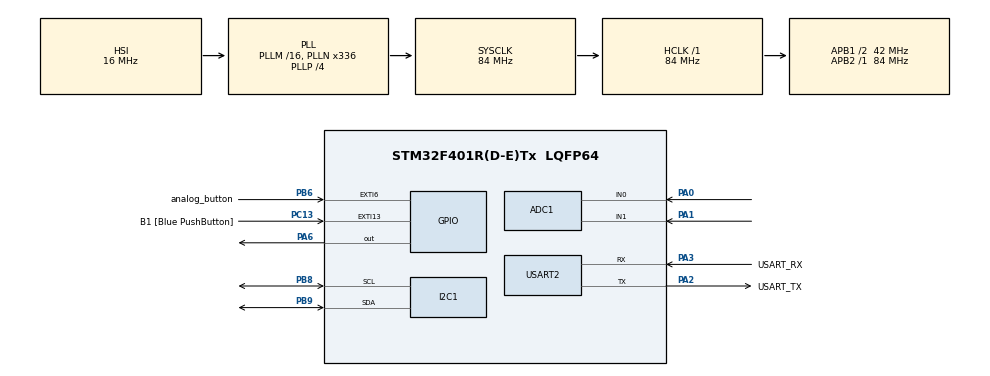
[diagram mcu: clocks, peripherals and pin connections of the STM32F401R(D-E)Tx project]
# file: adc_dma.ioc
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ADC1.Channel-0\#ChannelRegularConversion=ADC_CHANNEL_0
ADC1.Channel-1\#ChannelRegularConversion=ADC_CHANNEL_1
ADC1.ContinuousConvMode=ENABLE
ADC1.DMAContinuousRequests=ENABLE
ADC1.NbrOfConversion=2
ADC1.NbrOfConversionFlag=1
ADC1.Rank-0\#ChannelRegularConversion=1
ADC1.Rank-1\#ChannelRegularConversion=2
ADC1.SamplingTime-0\#ChannelRegularConversion=ADC_SAMPLETIME_480CYCLES
ADC1.SamplingTime-1\#ChannelRegularConversion=ADC_SAMPLETIME_480CYCLES
ADC1.ScanConvMode=ENABLE
ADC1.master=1
Dma.ADC1.0.Direction=DMA_PERIPH_TO_MEMORY
Dma.ADC1.0.FIFOMode=DMA_FIFOMODE_DISABLE
Dma.ADC1.0.Instance=DMA2_Stream0
Dma.ADC1.0.MemDataAlignment=DMA_MDATAALIGN_HALFWORD
Dma.ADC1.0.MemInc=DMA_MINC_ENABLE
Dma.ADC1.0.Mode=DMA_CIRCULAR
Dma.ADC1.0.PeriphDataAlignment=DMA_PDATAALIGN_HALFWORD
Dma.ADC1.0.PeriphInc=DMA_PINC_DISABLE
Dma.ADC1.0.Priority=DMA_PRIORITY_LOW
Dma.Request0=ADC1
Mcu.Family=STM32F4
Mcu.Name=STM32F401R(D-E)Tx
Mcu.Package=LQFP64
NVIC.ADC_IRQn=true\:1\:0\:true\:false\:true\:true\:true\:true
NVIC.DMA2_Stream0_IRQn=true\:0\:0\:false\:false\:true\:false\:true\:true
NVIC.EXTI9_5_IRQn=true\:1\:0\:true\:false\:true\:true\:true\:true
NVIC.PriorityGroup=NVIC_PRIORITYGROUP_4
NVIC.TIM2_IRQn=true\:0\:0\:false\:false\:true\:true\:true\:true
PA0-WKUP.Signal=ADCx_IN0
PA1.Signal=ADCx_IN1
PA13.GPIO_Label=TMS
PA13.Mode=Serial_Wire
PA13.Signal=SYS_JTMS-SWDIO
PA14.GPIO_Label=TCK
PA14.Mode=Serial_Wire
PA14.Signal=SYS_JTCK-SWCLK
PA2.GPIO_Label=USART_TX
PA2.GPIO_Mode=GPIO_MODE_AF_PP
PA2.GPIO_PuPd=GPIO_NOPULL
PA2.GPIO_Speed=GPIO_SPEED_FREQ_LOW
PA2.Mode=Asynchronous
PA2.Signal=USART2_TX
PA3.GPIO_Label=USART_RX
PA3.GPIO_Mode=GPIO_MODE_AF_PP
PA3.GPIO_PuPd=GPIO_NOPULL
PA3.GPIO_Speed=GPIO_SPEED_FREQ_LOW
PA3.Mode=Asynchronous
PA3.Signal=USART2_RX
PA6.Signal=GPIO_Output
PB3.GPIO_Label=SWO
PB3.Signal=SYS_JTDO-SWO
PB6.GPIO_Label=analog_button
PB6.GPIO_ModeDefaultEXTI=GPIO_MODE_IT_FALLING
PB6.Signal=GPXTI6
PB8.Mode=I2C
PB8.Signal=I2C1_SCL
PB9.Mode=I2C
PB9.Signal=I2C1_SDA
PC13-ANTI_TAMP.GPIO_Label=B1 [Blue PushButton]
PC13-ANTI_TAMP.GPIO_ModeDefaultEXTI=GPIO_MODE_IT_FALLING
PC13-ANTI_TAMP.GPIO_PuPd=GPIO_NOPULL
PC13-ANTI_TAMP.Signal=GPXTI13
PC14-OSC32_IN.Mode=LSE-External-Oscillator
PC14-OSC32_IN.Signal=RCC_OSC32_IN
PC15-OSC32_OUT.Mode=LSE-External-Oscillator
PC15-OSC32_OUT.Signal=RCC_OSC32_OUT
PH0\ -\ OSC_IN.Mode=HSE-External-Clock-Source
PH0\ -\ OSC_IN.Signal=RCC_OSC_IN
PH1\ -\ OSC_OUT.Mode=HSE-External-Clock-Source
PH1\ -\ OSC_OUT.Signal=RCC_OSC_OUT
ProjectManager.HeapSize=0x200
ProjectManager.StackSize=0x400
ProjectManager.TargetToolchain=STM32CubeIDE
RCC.48MHZClocksFreq_Value=48000000
RCC.AHBFreq_Value=84000000
RCC.APB1CLKDivider=RCC_HCLK_DIV2
RCC.APB1Freq_Value=42000000
RCC.APB1TimFreq_Value=84000000
RCC.APB2Freq_Value=84000000
RCC.APB2TimFreq_Value=84000000
RCC.CortexFreq_Value=84000000
RCC.HCLKFreq_Value=84000000
RCC.HSE_VALUE=8000000
RCC.HSI_VALUE=16000000
RCC.PLLN=336
RCC.PLLP=RCC_PLLP_DIV4
RCC.PLLQ=7
RCC.SYSCLKFreq_VALUE=84000000
RCC.SYSCLKSource=RCC_SYSCLKSOURCE_PLLCLK
RCC.VCOOutputFreq_Value=336000000
SH.ADCx_IN0.0=ADC1_IN0,IN0
SH.ADCx_IN1.0=ADC1_IN1,IN1
TIM2.AutoReloadPreload=TIM_AUTORELOAD_PRELOAD_ENABLE
TIM2.Period=84000-1
TIM2.Prescaler=10
TIM2.TIM_MasterOutputTrigger=TIM_TRGO_UPDATE
USART2.VirtualMode=VM_ASYNC
VP_TIM2_VS_ClockSourceINT.Mode=Internal
board=NUCLEO-F401RE

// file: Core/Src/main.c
/* USER CODE BEGIN Header */
/**
  ******************************************************************************
  * @file           : main.c
  * @brief          : Main program body
  ******************************************************************************
  * @attention
  *
  * Copyright (c) 2024 STMicroelectronics.
  * All rights reserved.
  *
  * This software is licensed under terms that can be found in the LICENSE file
  * in the root directory of this software component.
  * If no LICENSE file comes with this software, it is provided AS-IS.
  *
  ******************************************************************************
  */
/* USER CODE END Header */
#include "main.h"
#include "game.h"

/* USER CODE BEGIN Includes */
#include <stdio.h>
#include <string.h>
#include <time.h>

/* USER CODE END Includes */

/* USER CODE BEGIN PM */

static const uint8_t LEDMAT_ADD = 0x75 << 1;
static const uint8_t PAGE_1 = 0x00;
//static const uint8_t PAGE_2 = 0x01;
//static const uint8_t PAGE_3 = 0x02;
//static const uint8_t PAGE_4 = 0x03;
//static const uint8_t PAGE_5 = 0x04;
//static const uint8_t PAGE_6 = 0x05;
//static const uint8_t PAGE_7 = 0x06;
//static const uint8_t PAGE_8 = 0x07;
static const uint8_t FUN_REG = 0x0B;
static const uint8_t COM_REG = 0xFD;
static const uint8_t MAT_ROW[11] = {0x00, 0x02, 0x04, 0x06, 0x08, 0x0A, 0x01, 0x03, 0x05, 0x07, 0x09};
static const uint8_t MAT_COL[7] = {0x01, 0x02, 0x04, 0x08, 0x10, 0x20, 0x40};
/* USER CODE END PM */

ADC_HandleTypeDef hadc1;
DMA_HandleTypeDef hdma_adc1;

I2C_HandleTypeDef hi2c1;

TIM_HandleTypeDef htim2;

UART_HandleTypeDef huart2;

/* USER CODE BEGIN PV */
uint16_t Xaxis = 0;
uint16_t Yaxis = 0;
uint16_t rawValues[2];
uint16_t game_option = 0;
uint32_t previousMillis = 0;
uint32_t currentMillis = 0;
//char msg[20];

/* USER CODE END PV */

void SystemClock_Config(void);
static void MX_GPIO_Init(void);
static void MX_DMA_Init(void);
static void MX_USART2_UART_Init(void);
static void MX_ADC1_Init(void);
static void MX_TIM2_Init(void);
static void MX_I2C1_Init(void);

/* USER CODE BEGIN 0 */

////the code below is an interrupt that is triggered on an Update event (i.e. when the timer reaches its ARR value)
////if you look at TIM2 in the .ioc file (the GUI tab) you will see it has a source of 84MHz, an ARR of 84000-1 and
////a prescaler of 10, meaning this interrupt will occur every 10 ms.
void HAL_TIM_PeriodElapsedCallback(TIM_HandleTypeDef *htim2)
  {
	////this updates the X and Y axes of my joystick
	  for(uint8_t i = 0; i<hadc1.Init.NbrOfConversion; i++){
		  Xaxis = (uint16_t) rawValues[0];
		  Yaxis = (uint16_t) rawValues[1];
	  }
	 ////This allows me to write to the serial monitor similar to the serial monitor on Arduino
	 ////Note STM32CUBEIDE does not have a serial monitor. You will need to download PuTTY to view
	 ////your serial output.
//	  sprintf(msg, "X axis: %hu \r\t\t", Xaxis);
//	  HAL_UART_Transmit(&huart2, (uint8_t *) msg, strlen(msg), HAL_MAX_DELAY);
//
//	  sprintf(msg, "Y axis: %hu \r\n", Yaxis);
//	  HAL_UART_Transmit(&huart2, (uint8_t *) msg, strlen(msg), HAL_MAX_DELAY);
  }

void HAL_GPIO_EXTI_Callback(uint16_t GPIO_Pin){
	  currentMillis = HAL_GetTick();
	  if ((currentMillis - previousMillis > 300) & (game_option < 2))
	  {
	    game_option++; //For testing only
	    previousMillis = currentMillis;
	  }

	  else if(currentMillis - previousMillis > 300){
		  game_option = 0;
		  previousMillis = currentMillis;
	  }
}

/* USER CODE END 0 */

int main(void)
{
  /* USER CODE BEGIN 1 */
	//	HAL_StatusTypeDef ret;
  uint8_t screenstatus[11];
  uint8_t data[2];
  uint8_t new_head_y, new_head_x;
  uint8_t r_size = 11;
  uint8_t c_size = 7;
  int score = 0;
  int fruit_x = 6;
  int fruit_y = 3;
  int keep_playing = 1;
  int snakeX[4] = {0,0,0,0};
  int snakeY[4] = {0,0,1,2};
//
//  // 0 = low speed, 1 = high speed, 2 = pause, 3 = play;
  int button_state;
//  /* Number specifies the direction, 1=left, 2=right, 3=up, 4=down*/
  int direction = 2;
  char msg[20];
  /* USER CODE END 1 */

  /* MCU Configuration--------------------------------------------------------*/

  /* Reset of all peripherals, Initializes the Flash interface and the Systick. */
  HAL_Init();

  /* Configure the system clock */
  SystemClock_Config();

  /* Initialize all configured peripherals */
  MX_GPIO_Init();
  MX_DMA_Init();
  MX_USART2_UART_Init();
  MX_ADC1_Init();
  MX_TIM2_Init();
  MX_I2C1_Init();
  /* USER CODE BEGIN 2 */

  ////This begins the process of storing our ADC readings into the DMA. The DMA can be thought of a temporary storage location.
  HAL_ADC_Start_DMA(&hadc1, (uint32_t *) rawValues, 2);
  ////This begins our timer 2
  HAL_TIM_Base_Start_IT(&htim2);

  // Functions for the LED Screen matrix Demo
  void clearscreen(){
  		for(uint8_t r = 0; r <11; r++){
			  data[0] = COM_REG;
			  data[1] = PAGE_1;
			  HAL_I2C_Master_Transmit(&hi2c1, LEDMAT_ADD, data, 2, HAL_MAX_DELAY);
			  //HAL_Delay(10);
			  data[0] = MAT_ROW[r];
			  data[1] = 0x00;
			  HAL_I2C_Master_Transmit(&hi2c1, LEDMAT_ADD, data, 2, HAL_MAX_DELAY);
			  //HAL_Delay(10);
			  for(uint8_t r = 0; r <11; r++){
					screenstatus[r] = 0;
  			  }
  		  }
  }

  void turnoffscreen(){
  	  data[0] = COM_REG;
  	  data[1] = FUN_REG;
  	  HAL_I2C_Master_Transmit(&hi2c1, LEDMAT_ADD, data, 2, HAL_MAX_DELAY);
  	  //HAL_Delay(10);
  	  data[0] = 0x0A; //shutdown on/off
  	  data[1] = 0x00; //off
  	  HAL_I2C_Master_Transmit(&hi2c1, LEDMAT_ADD, data, 2, HAL_MAX_DELAY);
  }

  void turnonscreen(){
  	  data[0] = COM_REG;
  	  data[1] = FUN_REG;
  	  HAL_I2C_Master_Transmit(&hi2c1, LEDMAT_ADD, data, 2, HAL_MAX_DELAY);
  	 // HAL_Delay(10);
  	  data[0] = 0x0A; //shutdown on/off
  	  data[1] = 0x01; //on
  	  HAL_I2C_Master_Transmit(&hi2c1, LEDMAT_ADD, data, 2, HAL_MAX_DELAY);
  }

  void addpixel(uint8_t r, uint8_t c){
    	screenstatus[r] |= MAT_COL[c];
    	data[0] = COM_REG;
    	data[1] = PAGE_1;
    	HAL_I2C_Master_Transmit(&hi2c1, LEDMAT_ADD, data, 2, HAL_MAX_DELAY);
    	data[0] = MAT_ROW[r];
    	data[1] = screenstatus[r];
    	HAL_I2C_Master_Transmit(&hi2c1, LEDMAT_ADD, data, 2, HAL_MAX_DELAY);
    }

  void pwm_pixel_pause(){
    	data[0] = COM_REG;
    	data[1] = PAGE_1;
    	HAL_I2C_Master_Transmit(&hi2c1, LEDMAT_ADD, data, 2, HAL_MAX_DELAY);

    	for(uint8_t i = 0x54; i< 0x5B; i ++){
        	data[0] = i;
        	data[1] = 0x0A;
        	HAL_I2C_Master_Transmit(&hi2c1, LEDMAT_ADD, data, 2, HAL_MAX_DELAY);
    	}

    	data[0] = COM_REG;
    	data[1] = PAGE_1;
    	HAL_I2C_Master_Transmit(&hi2c1, LEDMAT_ADD, data, 2, HAL_MAX_DELAY);

    	for(uint8_t j = 0x3C; j< 0x43; j ++){
			data[0] = j;
			data[1] = 0x0A;
			HAL_I2C_Master_Transmit(&hi2c1, LEDMAT_ADD, data, 2, HAL_MAX_DELAY);
    	}
    }

	void removepixel(uint8_t r, uint8_t c){
		screenstatus[r] &= ~MAT_COL[c];
		data[0] = COM_REG;
		data[1] = PAGE_1;
		HAL_I2C_Master_Transmit(&hi2c1, LEDMAT_ADD, data, 2, HAL_MAX_DELAY);
		data[0] = MAT_ROW[r];
		data[1] = screenstatus[r];
		HAL_I2C_Master_Transmit(&hi2c1, LEDMAT_ADD, data, 2, HAL_MAX_DELAY);
	}

	void display_end(){
		addpixel(2, 0); addpixel(8, 0);
		addpixel(3, 1); addpixel(7, 1);
		addpixel(4, 2); addpixel(6, 2);
		addpixel(5, 3); addpixel(5, 3);
		addpixel(6, 4); addpixel(4, 4);
		addpixel(7, 5); addpixel(3, 5);
		addpixel(8, 6); addpixel(2, 6);
		HAL_GPIO_WritePin(GPIOA, GPIO_PIN_6, GPIO_PIN_SET);

	}

	void display_snake(){
		addpixel(snakeX[1], snakeY[1]);
		addpixel(snakeX[2], snakeY[2]);
		addpixel(snakeX[3], snakeY[3]);
		addpixel(fruit_x, fruit_y);
	}

	void display_pause(){
		addpixel(3, 0); addpixel(7, 0);
		addpixel(3, 1); addpixel(7, 1);
		addpixel(3, 2); addpixel(7, 2);
		addpixel(3, 3); addpixel(7, 3);
		addpixel(3, 4); addpixel(7, 4);
		addpixel(3, 5); addpixel(7, 5);
		addpixel(3, 6); addpixel(7, 6);
		pwm_pixel_pause();
	}

	void change_coordinate(int x_pos[4], int y_pos[4], int new_x_point, int new_y_point){
	    for (int i = 0; i < 3; i++) {
	        x_pos[i] = x_pos[i + 1];
	        y_pos[i] = y_pos[i + 1];
	    }
	    x_pos[3] = new_x_point;
	    y_pos[3] = new_y_point;
	}

	int move_direction(int dir){
		if((Xaxis < 500) & (new_head_x > 0) & (dir != 2)){
		  return 1; // Left
		}

		else if ((Xaxis > 3500) & (new_head_x < r_size - 1) & (dir != 1)){
		  return 2; // right
		}

		else if ((Yaxis < 500) & (new_head_y < c_size - 1) & (dir != 4)){
		  return 3; // up
		}

		else if ((Yaxis > 3500) & (new_head_y > 0) & (dir != 3)){
		  return 4; //down
		}

		else{
			return dir;
		}
	}

	int new_x_coordinates(int new_head_x){
		// Move left
		if((direction == 1)  & (new_head_x > 0)){
			return new_head_x - 1;
		}

		// move right
		else if((direction == 2) & (new_head_x < r_size - 1)){
			return new_head_x + 1;
		}

		else{
			return new_head_x;
		}
	}

	int new_y_coordinates(int new_head_y){
		// move up
		if((direction == 3) & (new_head_y < c_size - 1)){
			return new_head_y + 1;
		}

		// move down
		else if((direction == 4) & (new_head_y > 0)){
			return new_head_y - 1;
		}

		else{
			return new_head_y;
		}
	}

	int check_keep_playing(){
		if((snakeX[3] == snakeX[2]) && (snakeY[3] == snakeY[2])){
			return 0;
		}
		else{
			return 1;
		}

	}
	sprintf(msg, "\nPlayer Score: %d", score);
	HAL_UART_Transmit(&huart2, (uint8_t *) msg, strlen(msg), HAL_MAX_DELAY);

  /* USER CODE END 2 */

  /* Infinite loop */
  /* USER CODE BEGIN WHILE */
  while (1)
  {
	  if( HAL_I2C_IsDeviceReady(&hi2c1, LEDMAT_ADD, 2, HAL_MAX_DELAY) == HAL_OK){
		  keep_playing = check_keep_playing();
		  if((keep_playing == 1) & (game_option == 0 || (game_option == 1))){
			turnonscreen();
			clearscreen();
			display_snake();
			direction = move_direction(direction);
			new_head_x = new_x_coordinates(snakeX[3]);
			new_head_y = new_y_coordinates(snakeY[3]);
			change_coordinate(snakeX, snakeY, new_head_x, new_head_y);

			if((fruit_x == snakeX[3]) & (fruit_y == snakeY[3])){
				score++;
				fruit_x = rand() % 11;
				fruit_y = rand() % 7;
				sprintf(msg, "\nPlayer Score: %d", score);
				HAL_UART_Transmit(&huart2, (uint8_t *) msg, strlen(msg), HAL_MAX_DELAY);
				}

			if(game_option == 0){
				HAL_Delay(300);
			}

			if(game_option == 1){
				HAL_Delay(100);
			}

		  }

		  else if((keep_playing == 1) & (game_option == 2)){
			display_pause();
			HAL_Delay(300);
		  }

		  else{
			display_end();
			HAL_Delay(300);
		  }

	  }
    /* USER CODE END WHILE */

    /* USER CODE BEGIN 3 */
	  ////Joystick wiring-
	  ////+5V goes to 3V3 on the NUCLEO <-------- VERY IMPORTANT!!!! Do not connect to 5V as this will damage your board.
	  ////GND goes to GND on the NUCLEO
	  ////VRX goes to A0 on the NUCLEO
	  ////VRY goes to A1 on the NUCLEO

  }
  /* USER CODE END 3 */
}

void SystemClock_Config(void)
{
  RCC_OscInitTypeDef RCC_OscInitStruct = {0};
  RCC_ClkInitTypeDef RCC_ClkInitStruct = {0};

  /** Configure the main internal regulator output voltage
  */
  __HAL_RCC_PWR_CLK_ENABLE();
  __HAL_PWR_VOLTAGESCALING_CONFIG(PWR_REGULATOR_VOLTAGE_SCALE2);

  /** Initializes the RCC Oscillators according to the specified parameters
  * in the RCC_OscInitTypeDef structure.
  */
  RCC_OscInitStruct.OscillatorType = RCC_OSCILLATORTYPE_HSI;
  RCC_OscInitStruct.HSIState = RCC_HSI_ON;
  RCC_OscInitStruct.HSICalibrationValue = RCC_HSICALIBRATION_DEFAULT;
  RCC_OscInitStruct.PLL.PLLState = RCC_PLL_ON;
  RCC_OscInitStruct.PLL.PLLSource = RCC_PLLSOURCE_HSI;
  RCC_OscInitStruct.PLL.PLLM = 16;
  RCC_OscInitStruct.PLL.PLLN = 336;
  RCC_OscInitStruct.PLL.PLLP = RCC_PLLP_DIV4;
  RCC_OscInitStruct.PLL.PLLQ = 7;
  if (HAL_RCC_OscConfig(&RCC_OscInitStruct) != HAL_OK)
  {
    Error_Handler();
  }

  /** Initializes the CPU, AHB and APB buses clocks
  */
  RCC_ClkInitStruct.ClockType = RCC_CLOCKTYPE_HCLK|RCC_CLOCKTYPE_SYSCLK
                              |RCC_CLOCKTYPE_PCLK1|RCC_CLOCKTYPE_PCLK2;
  RCC_ClkInitStruct.SYSCLKSource = RCC_SYSCLKSOURCE_PLLCLK;
  RCC_ClkInitStruct.AHBCLKDivider = RCC_SYSCLK_DIV1;
  RCC_ClkInitStruct.APB1CLKDivider = RCC_HCLK_DIV2;
  RCC_ClkInitStruct.APB2CLKDivider = RCC_HCLK_DIV1;

  if (HAL_RCC_ClockConfig(&RCC_ClkInitStruct, FLASH_LATENCY_2) != HAL_OK)
  {
    Error_Handler();
  }
}

static void MX_ADC1_Init(void)
{

  ADC_ChannelConfTypeDef sConfig = {0};

  /** Configure the global features of the ADC (Clock, Resolution, Data Alignment and number of conversion)
  */
  hadc1.Instance = ADC1;
  hadc1.Init.ClockPrescaler = ADC_CLOCK_SYNC_PCLK_DIV4;
  hadc1.Init.Resolution = ADC_RESOLUTION_12B;
  hadc1.Init.ScanConvMode = ENABLE;
  hadc1.Init.ContinuousConvMode = ENABLE;
  hadc1.Init.DiscontinuousConvMode = DISABLE;
  hadc1.Init.ExternalTrigConvEdge = ADC_EXTERNALTRIGCONVEDGE_NONE;
  hadc1.Init.ExternalTrigConv = ADC_SOFTWARE_START;
  hadc1.Init.DataAlign = ADC_DATAALIGN_RIGHT;
  hadc1.Init.NbrOfConversion = 2;
  hadc1.Init.DMAContinuousRequests = ENABLE;
  hadc1.Init.EOCSelection = ADC_EOC_SINGLE_CONV;
  if (HAL_ADC_Init(&hadc1) != HAL_OK)
  {
    Error_Handler();
  }

  /** Configure for the selected ADC regular channel its corresponding rank in the sequencer and its sample time.
  */
  sConfig.Channel = ADC_CHANNEL_0;
  sConfig.Rank = 1;
  sConfig.SamplingTime = ADC_SAMPLETIME_480CYCLES;
  if (HAL_ADC_ConfigChannel(&hadc1, &sConfig) != HAL_OK)
  {
    Error_Handler();
  }

  /** Configure for the selected ADC regular channel its corresponding rank in the sequencer and its sample time.
  */
  sConfig.Channel = ADC_CHANNEL_1;
  sConfig.Rank = 2;
  if (HAL_ADC_ConfigChannel(&hadc1, &sConfig) != HAL_OK)
  {
    Error_Handler();
  }

}

static void MX_I2C1_Init(void)
{

  hi2c1.Instance = I2C1;
  hi2c1.Init.ClockSpeed = 100000;
  hi2c1.Init.DutyCycle = I2C_DUTYCYCLE_2;
  hi2c1.Init.OwnAddress1 = 0;
  hi2c1.Init.AddressingMode = I2C_ADDRESSINGMODE_7BIT;
  hi2c1.Init.DualAddressMode = I2C_DUALADDRESS_DISABLE;
  hi2c1.Init.OwnAddress2 = 0;
  hi2c1.Init.GeneralCallMode = I2C_GENERALCALL_DISABLE;
  hi2c1.Init.NoStretchMode = I2C_NOSTRETCH_DISABLE;
  if (HAL_I2C_Init(&hi2c1) != HAL_OK)
  {
    Error_Handler();
  }

}

static void MX_TIM2_Init(void)
{

  TIM_ClockConfigTypeDef sClockSourceConfig = {0};
  TIM_MasterConfigTypeDef sMasterConfig = {0};

  htim2.Instance = TIM2;
  htim2.Init.Prescaler = 10;
  htim2.Init.CounterMode = TIM_COUNTERMODE_UP;
  htim2.Init.Period = 84000-1;
  htim2.Init.ClockDivision = TIM_CLOCKDIVISION_DIV1;
  htim2.Init.AutoReloadPreload = TIM_AUTORELOAD_PRELOAD_ENABLE;
  if (HAL_TIM_Base_Init(&htim2) != HAL_OK)
  {
    Error_Handler();
  }
  sClockSourceConfig.ClockSource = TIM_CLOCKSOURCE_INTERNAL;
  if (HAL_TIM_ConfigClockSource(&htim2, &sClockSourceConfig) != HAL_OK)
  {
    Error_Handler();
  }
  sMasterConfig.MasterOutputTrigger = TIM_TRGO_UPDATE;
  sMasterConfig.MasterSlaveMode = TIM_MASTERSLAVEMODE_DISABLE;
  if (HAL_TIMEx_MasterConfigSynchronization(&htim2, &sMasterConfig) != HAL_OK)
  {
    Error_Handler();
  }

}

static void MX_USART2_UART_Init(void)
{

  huart2.Instance = USART2;
  huart2.Init.BaudRate = 115200;
  huart2.Init.WordLength = UART_WORDLENGTH_8B;
  huart2.Init.StopBits = UART_STOPBITS_1;
  huart2.Init.Parity = UART_PARITY_NONE;
  huart2.Init.Mode = UART_MODE_TX_RX;
  huart2.Init.HwFlowCtl = UART_HWCONTROL_NONE;
  huart2.Init.OverSampling = UART_OVERSAMPLING_16;
  if (HAL_UART_Init(&huart2) != HAL_OK)
  {
    Error_Handler();
  }

}

static void MX_DMA_Init(void)
{

  /* DMA controller clock enable */
  __HAL_RCC_DMA2_CLK_ENABLE();

  /* DMA interrupt init */
  /* DMA2_Stream0_IRQn interrupt configuration */
  HAL_NVIC_SetPriority(DMA2_Stream0_IRQn, 0, 0);
  HAL_NVIC_EnableIRQ(DMA2_Stream0_IRQn);

}

static void MX_GPIO_Init(void)
{
  GPIO_InitTypeDef GPIO_InitStruct = {0};

  /* GPIO Ports Clock Enable */
  __HAL_RCC_GPIOC_CLK_ENABLE();
  __HAL_RCC_GPIOH_CLK_ENABLE();
  __HAL_RCC_GPIOA_CLK_ENABLE();
  __HAL_RCC_GPIOB_CLK_ENABLE();

  /*Configure GPIO pin Output Level */
  HAL_GPIO_WritePin(GPIOA, GPIO_PIN_6, GPIO_PIN_RESET);

  /*Configure GPIO pin : B1_Pin */
  GPIO_InitStruct.Pin = B1_Pin;
  GPIO_InitStruct.Mode = GPIO_MODE_IT_FALLING;
  GPIO_InitStruct.Pull = GPIO_NOPULL;
  HAL_GPIO_Init(B1_GPIO_Port, &GPIO_InitStruct);

  /*Configure GPIO pin : PA6 */
  GPIO_InitStruct.Pin = GPIO_PIN_6;
  GPIO_InitStruct.Mode = GPIO_MODE_OUTPUT_PP;
  GPIO_InitStruct.Pull = GPIO_NOPULL;
  GPIO_InitStruct.Speed = GPIO_SPEED_FREQ_LOW;
  HAL_GPIO_Init(GPIOA, &GPIO_InitStruct);

  /*Configure GPIO pin : analog_button_Pin */
  GPIO_InitStruct.Pin = analog_button_Pin;
  GPIO_InitStruct.Mode = GPIO_MODE_IT_FALLING;
  GPIO_InitStruct.Pull = GPIO_NOPULL;
  HAL_GPIO_Init(analog_button_GPIO_Port, &GPIO_InitStruct);

  /* EXTI interrupt init*/
  HAL_NVIC_SetPriority(EXTI9_5_IRQn, 1, 0);
  HAL_NVIC_EnableIRQ(EXTI9_5_IRQn);

}

void Error_Handler(void)
{
  __disable_irq();
  while (1)
  {
  }
}
